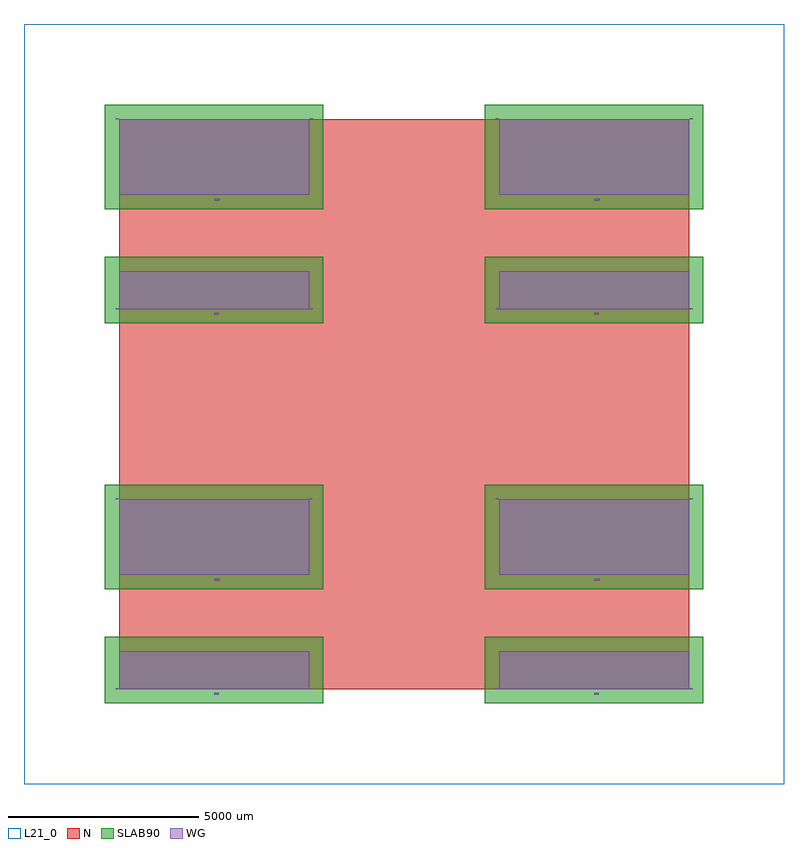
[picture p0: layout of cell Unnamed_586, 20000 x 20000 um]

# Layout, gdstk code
import gdstk
lib = gdstk.Library(unit=1e-6, precision=1e-09)
def R(c, l, rs):  # rectangles x0, y0, x1, y1
    for r in rs: c.add(gdstk.rectangle(r[:2], r[2:], *l))
def A(c, l, x, y, w, h, nx, ny, dx, dy):  # array of equal rectangles
    R(c, l, [(x+i*dx, y+j*dy, x+i*dx+w, y+j*dy+h) for i in range(nx) for j in range(ny)])
def P(c, l, *ps):  # polygons
    for p in ps: c.add(gdstk.Polygon(p, *l))
WG = (1, 0)
SLAB90 = (3, 0)
N = (20, 0)
L21_0 = (21, 0)

rectangle_s20000_20000__ = lib.new_cell('rectangle_S20000_20000__aa48e1ac')
R(rectangle_s20000_20000__, L21_0, [(0,0,20000,20000)])

text_tdml_4_s20_p0_0_jle = lib.new_cell('text_TDML_4_S20_P0_0_Jleft_L1_0')
P(text_tdml_4_s20_p0_0_jle, WG, [(36,0),(36,20),(40,20),(40,4),(50,4),(50,0)],
  [(70,0),(70,6),(62,6),(62,20),(66,20),(66,10),(70,10),(70,20),(74,20),(74,10),(76,10),(76,6),(74,6),(74,0)],
  [(18,0),(18,20),(22,20),(26,14),(30,20),(34,20),(34,0),(30,0),(30,12),(26,6),(22,12),(22,0)],
  [(2,0),(2,8),(6,8),(6,4),(10,4),(12,6),(12,14),(10,16),(6,16),(6,12),(2,12),(2,20),(12,20),(16,16),(16,4),(12,0)])

unnamed_603 = lib.new_cell('Unnamed_603')
unnamed_603.add(gdstk.Reference(text_tdml_4_s20_p0_0_jle, (-85,0)))
unnamed_603.add(gdstk.Reference(text_tdml_4_s20_p0_0_jle, (5020,0)))
unnamed_603.add(gdstk.Reference(text_tdml_4_s20_p0_0_jle, (-85,5000)))
unnamed_603.add(gdstk.Reference(text_tdml_4_s20_p0_0_jle, (5020,5000)))

text_tdml_3_s20_p0_0_jle = lib.new_cell('text_TDML_3_S20_P0_0_Jleft_L1_0')
P(text_tdml_3_s20_p0_0_jle, WG, [(36,0),(36,20),(40,20),(40,4),(50,4),(50,0)],
  [(66,0),(62,4),(62,6),(66,6),(68,4),(70,4),(72,6),(70,8),(70,12),(72,14),(70,16),(68,16),(66,14),(62,14),(62,16),(66,20),(72,20),(76,16),(76,12),(74,10),(76,8),(76,4),(72,0)],
  [(18,0),(18,20),(22,20),(26,14),(30,20),(34,20),(34,0),(30,0),(30,12),(26,6),(22,12),(22,0)],
  [(2,0),(2,8),(6,8),(6,4),(10,4),(12,6),(12,14),(10,16),(6,16),(6,12),(2,12),(2,20),(12,20),(16,16),(16,4),(12,0)])

unnamed_602 = lib.new_cell('Unnamed_602')
unnamed_602.add(gdstk.Reference(text_tdml_3_s20_p0_0_jle, (-85,0)))
unnamed_602.add(gdstk.Reference(text_tdml_3_s20_p0_0_jle, (5020,0)))
unnamed_602.add(gdstk.Reference(text_tdml_3_s20_p0_0_jle, (-85,5000)))
unnamed_602.add(gdstk.Reference(text_tdml_3_s20_p0_0_jle, (5020,5000)))

text_tdml_2_s20_p0_0_jle = lib.new_cell('text_TDML_2_S20_P0_0_Jleft_L1_0')
P(text_tdml_2_s20_p0_0_jle, WG, [(36,0),(36,20),(40,20),(40,4),(50,4),(50,0)],
  [(18,0),(18,20),(22,20),(26,14),(30,20),(34,20),(34,0),(30,0),(30,12),(26,6),(22,12),(22,0)],
  [(62,0),(62,4),(72,14),(72,16),(66,16),(66,14),(62,14),(62,18),(64,20),(74,20),(76,18),(76,12),(68,4),(76,4),(76,0)],
  [(2,0),(2,8),(6,8),(6,4),(10,4),(12,6),(12,14),(10,16),(6,16),(6,12),(2,12),(2,20),(12,20),(16,16),(16,4),(12,0)])

unnamed_601 = lib.new_cell('Unnamed_601')
unnamed_601.add(gdstk.Reference(text_tdml_2_s20_p0_0_jle, (-85,0)))
unnamed_601.add(gdstk.Reference(text_tdml_2_s20_p0_0_jle, (5020,0)))
unnamed_601.add(gdstk.Reference(text_tdml_2_s20_p0_0_jle, (-85,5000)))
unnamed_601.add(gdstk.Reference(text_tdml_2_s20_p0_0_jle, (5020,5000)))

text_tdml_1_s20_p0_0_jle = lib.new_cell('text_TDML_1_S20_P0_0_Jleft_L1_0')
P(text_tdml_1_s20_p0_0_jle, WG, [(62,0),(62,4),(64,4),(64,12),(62,12),(62,16),(66,20),(68,20),(68,4),(70,4),(70,0)],
  [(36,0),(36,20),(40,20),(40,4),(50,4),(50,0)],
  [(18,0),(18,20),(22,20),(26,14),(30,20),(34,20),(34,0),(30,0),(30,12),(26,6),(22,12),(22,0)],
  [(2,0),(2,8),(6,8),(6,4),(10,4),(12,6),(12,14),(10,16),(6,16),(6,12),(2,12),(2,20),(12,20),(16,16),(16,4),(12,0)])

unnamed_600 = lib.new_cell('Unnamed_600')
unnamed_600.add(gdstk.Reference(text_tdml_1_s20_p0_0_jle, (-85,0)))
unnamed_600.add(gdstk.Reference(text_tdml_1_s20_p0_0_jle, (5020,0)))
unnamed_600.add(gdstk.Reference(text_tdml_1_s20_p0_0_jle, (-85,5000)))
unnamed_600.add(gdstk.Reference(text_tdml_1_s20_p0_0_jle, (5020,5000)))

unnamed_599 = lib.new_cell('Unnamed_599')
unnamed_599.add(gdstk.Reference(unnamed_603, (10000,10000)))
unnamed_599.add(gdstk.Reference(unnamed_602, (0,10000)))
unnamed_599.add(gdstk.Reference(unnamed_601, (10000,0)))
unnamed_599.add(gdstk.Reference(unnamed_600, (0,0)))

rectangle_s15000_15000__ = lib.new_cell('rectangle_S15000_15000__6a6c2047')
R(rectangle_s15000_15000__, N, [(0,0,15000,15000)])

unnamed_612 = lib.new_cell('Unnamed_612')
P(unnamed_612, WG, [(2505,2852),(2505,2862),(2510,2862),(2510,2882),(2505,2882),(2505,2892),(2515,2902),(2520,2902),(2520,2862),(2525,2862),(2525,2852)],
  [(12505,2852),(12505,2862),(12510,2862),(12510,2882),(12505,2882),(12505,2892),(12515,2902),(12520,2902),(12520,2862),(12525,2862),(12525,2852)],
  [(2505,12852),(2505,12862),(2510,12862),(2510,12882),(2505,12882),(2505,12892),(2515,12902),(2520,12902),(2520,12862),(2525,12862),(2525,12852)],
  [(12505,12852),(12505,12862),(12510,12862),(12510,12882),(12505,12882),(12505,12892),(12515,12902),(12520,12902),(12520,12862),(12525,12862),(12525,12852)],
  [(2590,-150),(2585,-145),(2585,-130),(2590,-125),(2585,-120),(2585,-105),(2590,-100),(2600,-100),(2600,-110),(2595,-110),(2595,-120),(2610,-120),(2610,-110),(2605,-110),(2605,-100),(2615,-100),(2620,-105),(2620,-120),(2615,-125),(2620,-130),(2620,-145),(2615,-150),(2605,-150),(2605,-140),(2610,-140),(2610,-130),(2595,-130),(2595,-140),(2600,-140),(2600,-150)],
  [(12590,-150),(12585,-145),(12585,-130),(12590,-125),(12585,-120),(12585,-105),(12590,-100),(12600,-100),(12600,-110),(12595,-110),(12595,-120),(12610,-120),(12610,-110),(12605,-110),(12605,-100),(12615,-100),(12620,-105),(12620,-120),(12615,-125),(12620,-130),(12620,-145),(12615,-150),(12605,-150),(12605,-140),(12610,-140),(12610,-130),(12595,-130),(12595,-140),(12600,-140),(12600,-150)],
  [(2615,2852),(2610,2857),(2610,2872),(2615,2877),(2610,2882),(2610,2897),(2615,2902),(2625,2902),(2625,2892),(2620,2892),(2620,2882),(2635,2882),(2635,2892),(2630,2892),(2630,2902),(2640,2902),(2645,2897),(2645,2882),(2640,2877),(2645,2872),(2645,2857),(2640,2852),(2630,2852),(2630,2862),(2635,2862),(2635,2872),(2620,2872),(2620,2862),(2625,2862),(2625,2852)],
  [(12615,2852),(12610,2857),(12610,2872),(12615,2877),(12610,2882),(12610,2897),(12615,2902),(12625,2902),(12625,2892),(12620,2892),(12620,2882),(12635,2882),(12635,2892),(12630,2892),(12630,2902),(12640,2902),(12645,2897),(12645,2882),(12640,2877),(12645,2872),(12645,2857),(12640,2852),(12630,2852),(12630,2862),(12635,2862),(12635,2872),(12620,2872),(12620,2862),(12625,2862),(12625,2852)],
  [(2590,9850),(2585,9855),(2585,9870),(2590,9875),(2585,9880),(2585,9895),(2590,9900),(2600,9900),(2600,9890),(2595,9890),(2595,9880),(2610,9880),(2610,9890),(2605,9890),(2605,9900),(2615,9900),(2620,9895),(2620,9880),(2615,9875),(2620,9870),(2620,9855),(2615,9850),(2605,9850),(2605,9860),(2610,9860),(2610,9870),(2595,9870),(2595,9860),(2600,9860),(2600,9850)],
  [(12590,9850),(12585,9855),(12585,9870),(12590,9875),(12585,9880),(12585,9895),(12590,9900),(12600,9900),(12600,9890),(12595,9890),(12595,9880),(12610,9880),(12610,9890),(12605,9890),(12605,9900),(12615,9900),(12620,9895),(12620,9880),(12615,9875),(12620,9870),(12620,9855),(12615,9850),(12605,9850),(12605,9860),(12610,9860),(12610,9870),(12595,9870),(12595,9860),(12600,9860),(12600,9850)],
  [(2615,12852),(2610,12857),(2610,12872),(2615,12877),(2610,12882),(2610,12897),(2615,12902),(2625,12902),(2625,12892),(2620,12892),(2620,12882),(2635,12882),(2635,12892),(2630,12892),(2630,12902),(2640,12902),(2645,12897),(2645,12882),(2640,12877),(2645,12872),(2645,12857),(2640,12852),(2630,12852),(2630,12862),(2635,12862),(2635,12872),(2620,12872),(2620,12862),(2625,12862),(2625,12852)],
  [(12615,12852),(12610,12857),(12610,12872),(12615,12877),(12610,12882),(12610,12897),(12615,12902),(12625,12902),(12625,12892),(12620,12892),(12620,12882),(12635,12882),(12635,12892),(12630,12892),(12630,12902),(12640,12902),(12645,12897),(12645,12882),(12640,12877),(12645,12872),(12645,12857),(12640,12852),(12630,12852),(12630,12862),(12635,12862),(12635,12872),(12620,12872),(12620,12862),(12625,12862),(12625,12852)],
  [(2510,-150),(2505,-145),(2505,-135),(2515,-135),(2515,-140),(2530,-140),(2530,-130),(2510,-130),(2505,-125),(2505,-105),(2510,-100),(2520,-100),(2520,-110),(2515,-110),(2515,-120),(2530,-120),(2530,-110),(2525,-110),(2525,-100),(2535,-100),(2540,-105),(2540,-145),(2535,-150)],
  [(2550,-150),(2545,-145),(2545,-135),(2555,-135),(2555,-140),(2570,-140),(2570,-130),(2550,-130),(2545,-125),(2545,-105),(2550,-100),(2560,-100),(2560,-110),(2555,-110),(2555,-120),(2570,-120),(2570,-110),(2565,-110),(2565,-100),(2575,-100),(2580,-105),(2580,-145),(2575,-150)],
  [(2510,9850),(2505,9855),(2505,9865),(2515,9865),(2515,9860),(2530,9860),(2530,9870),(2510,9870),(2505,9875),(2505,9895),(2510,9900),(2520,9900),(2520,9890),(2515,9890),(2515,9880),(2530,9880),(2530,9890),(2525,9890),(2525,9900),(2535,9900),(2540,9895),(2540,9855),(2535,9850)],
  [(2550,9850),(2545,9855),(2545,9865),(2555,9865),(2555,9860),(2570,9860),(2570,9870),(2550,9870),(2545,9875),(2545,9895),(2550,9900),(2560,9900),(2560,9890),(2555,9890),(2555,9880),(2570,9880),(2570,9890),(2565,9890),(2565,9900),(2575,9900),(2580,9895),(2580,9855),(2575,9850)],
  [(12510,-150),(12505,-145),(12505,-135),(12515,-135),(12515,-140),(12530,-140),(12530,-130),(12510,-130),(12505,-125),(12505,-105),(12510,-100),(12520,-100),(12520,-110),(12515,-110),(12515,-120),(12530,-120),(12530,-110),(12525,-110),(12525,-100),(12535,-100),(12540,-105),(12540,-145),(12535,-150)],
  [(12550,-150),(12545,-145),(12545,-135),(12555,-135),(12555,-140),(12570,-140),(12570,-130),(12550,-130),(12545,-125),(12545,-105),(12550,-100),(12560,-100),(12560,-110),(12555,-110),(12555,-120),(12570,-120),(12570,-110),(12565,-110),(12565,-100),(12575,-100),(12580,-105),(12580,-145),(12575,-150)],
  [(12510,9850),(12505,9855),(12505,9865),(12515,9865),(12515,9860),(12530,9860),(12530,9870),(12510,9870),(12505,9875),(12505,9895),(12510,9900),(12520,9900),(12520,9890),(12515,9890),(12515,9880),(12530,9880),(12530,9890),(12525,9890),(12525,9900),(12535,9900),(12540,9895),(12540,9855),(12535,9850)],
  [(12550,9850),(12545,9855),(12545,9865),(12555,9865),(12555,9860),(12570,9860),(12570,9870),(12550,9870),(12545,9875),(12545,9895),(12550,9900),(12560,9900),(12560,9890),(12555,9890),(12555,9880),(12570,9880),(12570,9890),(12565,9890),(12565,9900),(12575,9900),(12580,9895),(12580,9855),(12575,9850)],
  [(2535,2852),(2530,2857),(2530,2867),(2540,2867),(2540,2862),(2555,2862),(2555,2872),(2535,2872),(2530,2877),(2530,2897),(2535,2902),(2545,2902),(2545,2892),(2540,2892),(2540,2882),(2555,2882),(2555,2892),(2550,2892),(2550,2902),(2560,2902),(2565,2897),(2565,2857),(2560,2852)],
  [(2575,2852),(2570,2857),(2570,2867),(2580,2867),(2580,2862),(2595,2862),(2595,2872),(2575,2872),(2570,2877),(2570,2897),(2575,2902),(2585,2902),(2585,2892),(2580,2892),(2580,2882),(2595,2882),(2595,2892),(2590,2892),(2590,2902),(2600,2902),(2605,2897),(2605,2857),(2600,2852)],
  [(2535,12852),(2530,12857),(2530,12867),(2540,12867),(2540,12862),(2555,12862),(2555,12872),(2535,12872),(2530,12877),(2530,12897),(2535,12902),(2545,12902),(2545,12892),(2540,12892),(2540,12882),(2555,12882),(2555,12892),(2550,12892),(2550,12902),(2560,12902),(2565,12897),(2565,12857),(2560,12852)],
  [(2575,12852),(2570,12857),(2570,12867),(2580,12867),(2580,12862),(2595,12862),(2595,12872),(2575,12872),(2570,12877),(2570,12897),(2575,12902),(2585,12902),(2585,12892),(2580,12892),(2580,12882),(2595,12882),(2595,12892),(2590,12892),(2590,12902),(2600,12902),(2605,12897),(2605,12857),(2600,12852)],
  [(12535,2852),(12530,2857),(12530,2867),(12540,2867),(12540,2862),(12555,2862),(12555,2872),(12535,2872),(12530,2877),(12530,2897),(12535,2902),(12545,2902),(12545,2892),(12540,2892),(12540,2882),(12555,2882),(12555,2892),(12550,2892),(12550,2902),(12560,2902),(12565,2897),(12565,2857),(12560,2852)],
  [(12575,2852),(12570,2857),(12570,2867),(12580,2867),(12580,2862),(12595,2862),(12595,2872),(12575,2872),(12570,2877),(12570,2897),(12575,2902),(12585,2902),(12585,2892),(12580,2892),(12580,2882),(12595,2882),(12595,2892),(12590,2892),(12590,2902),(12600,2902),(12605,2897),(12605,2857),(12600,2852)],
  [(12535,12852),(12530,12857),(12530,12867),(12540,12867),(12540,12862),(12555,12862),(12555,12872),(12535,12872),(12530,12877),(12530,12897),(12535,12902),(12545,12902),(12545,12892),(12540,12892),(12540,12882),(12555,12882),(12555,12892),(12550,12892),(12550,12902),(12560,12902),(12565,12897),(12565,12857),(12560,12852)],
  [(12575,12852),(12570,12857),(12570,12867),(12580,12867),(12580,12862),(12595,12862),(12595,12872),(12575,12872),(12570,12877),(12570,12897),(12575,12902),(12585,12902),(12585,12892),(12580,12892),(12580,12882),(12595,12882),(12595,12892),(12590,12892),(12590,12902),(12600,12902),(12605,12897),(12605,12857),(12600,12852)])

unnamed_610 = lib.new_cell('Unnamed_610')
A(unnamed_610, WG, 0, 0, 500, 998, 4, 2, 1500, 10000)
A(unnamed_610, WG, 10000, 0, 500, 998, 4, 2, 1500, 10000)
R(unnamed_610, WG, [(0,3002,330,5000), (2330,3002,2660,5000), (4660,3002,5000,5000), (10000,3002,10330,5000), (12330,3002,12660,5000), (14660,3002,15000,5000), (0,13002,330,15000), (2330,13002,2660,15000), (4660,13002,5000,15000), (10000,13002,10330,15000), (12330,13002,12660,15000), (14660,13002,15000,15000)])

rectangle_s5743p44_2741_ = lib.new_cell('rectangle_S5743p44_2741_3c67332a')
R(rectangle_s5743p44_2741_, SLAB90, [(0,0,5743.44,2741.44)])

rectangle_s5743p44_1741_ = lib.new_cell('rectangle_S5743p44_1741_03ee2668')
R(rectangle_s5743p44_1741_, SLAB90, [(0,0,5743.44,1741.44)])

unnamed_597 = lib.new_cell('Unnamed_597')
unnamed_597.add(gdstk.Reference(rectangle_s5743p44_2741_, (0,3002)))
unnamed_597.add(gdstk.Reference(rectangle_s5743p44_1741_, (0,0)))

unnamed_596 = lib.new_cell('Unnamed_596')
unnamed_596.add(gdstk.Reference(rectangle_s5743p44_2741_, (0,3002)))
unnamed_596.add(gdstk.Reference(rectangle_s5743p44_1741_, (0,0)))

unnamed_595 = lib.new_cell('Unnamed_595')
unnamed_595.add(gdstk.Reference(rectangle_s5743p44_2741_, (0,3002)))
unnamed_595.add(gdstk.Reference(rectangle_s5743p44_1741_, (0,0)))

unnamed_594 = lib.new_cell('Unnamed_594')
unnamed_594.add(gdstk.Reference(rectangle_s5743p44_2741_, (0,3002)))
unnamed_594.add(gdstk.Reference(rectangle_s5743p44_1741_, (0,0)))

unnamed_593 = lib.new_cell('Unnamed_593')
unnamed_593.add(gdstk.Reference(unnamed_597, (9628.28,9628.28)))
unnamed_593.add(gdstk.Reference(unnamed_596, (-371.72,9628.28)))
unnamed_593.add(gdstk.Reference(unnamed_595, (9628.28,-371.72)))
unnamed_593.add(gdstk.Reference(unnamed_594, (-371.72,-371.72)))

unnamed_611 = lib.new_cell('Unnamed_611')
A(unnamed_611, WG, 502, 0, 48, 48, 20, 20, 50, 50)
A(unnamed_611, WG, 2002, 0, 48, 48, 20, 20, 50, 50)
A(unnamed_611, WG, 3502, 0, 48, 48, 20, 20, 50, 50)
A(unnamed_611, WG, 10502, 0, 48, 48, 20, 20, 50, 50)
A(unnamed_611, WG, 12002, 0, 48, 48, 20, 20, 50, 50)
A(unnamed_611, WG, 13502, 0, 48, 48, 20, 20, 50, 50)
A(unnamed_611, WG, 332, 3002, 48, 48, 40, 40, 50, 50)
A(unnamed_611, WG, 2662, 3002, 48, 48, 40, 40, 50, 50)
A(unnamed_611, WG, 10332, 3002, 48, 48, 40, 40, 50, 50)
A(unnamed_611, WG, 12662, 3002, 48, 48, 40, 40, 50, 50)
A(unnamed_611, WG, 502, 10000, 48, 48, 20, 20, 50, 50)
A(unnamed_611, WG, 2002, 10000, 48, 48, 20, 20, 50, 50)
A(unnamed_611, WG, 3502, 10000, 48, 48, 20, 20, 50, 50)
A(unnamed_611, WG, 10502, 10000, 48, 48, 20, 20, 50, 50)
A(unnamed_611, WG, 12002, 10000, 48, 48, 20, 20, 50, 50)
A(unnamed_611, WG, 13502, 10000, 48, 48, 20, 20, 50, 50)
A(unnamed_611, WG, 332, 13002, 48, 48, 40, 40, 50, 50)
A(unnamed_611, WG, 2662, 13002, 48, 48, 40, 40, 50, 50)
A(unnamed_611, WG, 10332, 13002, 48, 48, 40, 40, 50, 50)
A(unnamed_611, WG, 12662, 13002, 48, 48, 40, 40, 50, 50)

unnamed_586 = lib.new_cell('Unnamed_586')
unnamed_586.add(gdstk.Reference(rectangle_s20000_20000__, (-2500,-2500)))
unnamed_586.add(gdstk.Reference(unnamed_599, (0,0)))
unnamed_586.add(gdstk.Reference(rectangle_s15000_15000__, (0,0)))
unnamed_586.add(gdstk.Reference(unnamed_612, (0,0)))
unnamed_586.add(gdstk.Reference(unnamed_610, (0,0)))
unnamed_586.add(gdstk.Reference(unnamed_593, (0,0)))
unnamed_586.add(gdstk.Reference(unnamed_611, (0,0)))

lib.write_gds('Unnamed_586.gds')
